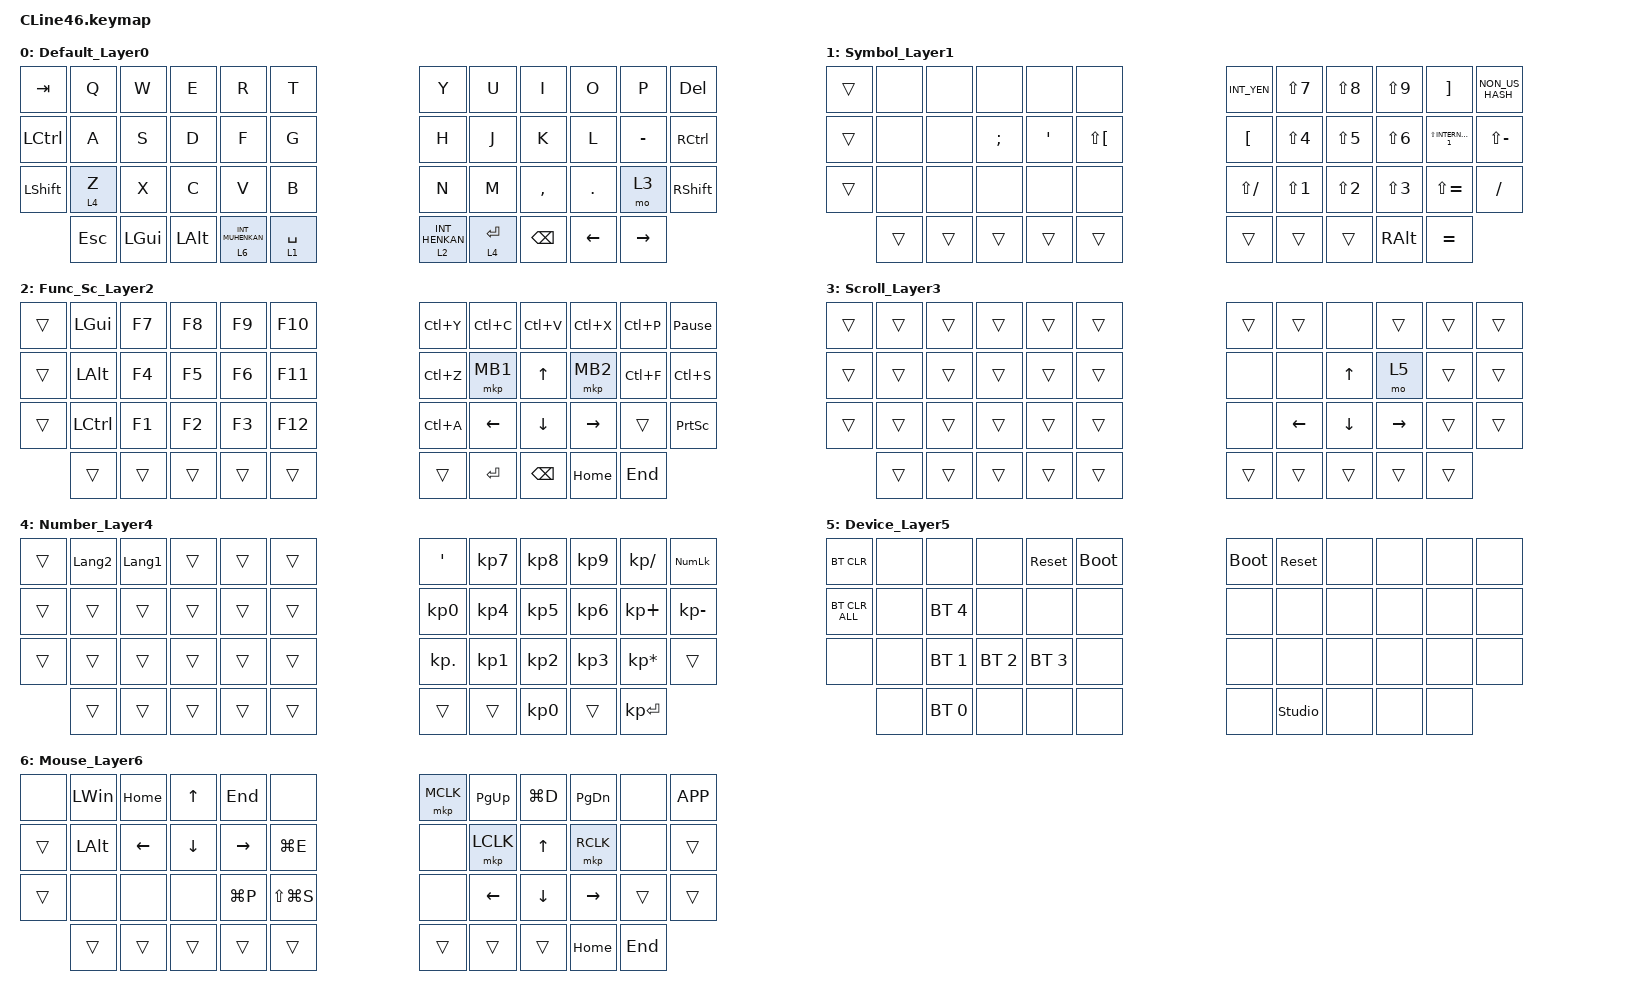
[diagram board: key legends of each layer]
#include <input/processors.dtsi>
#include <dt-bindings/zmk/input_transform.h>
#include <zephyr/dt-bindings/input/input-event-codes.h>
#include <behaviors/runtime_macro.dtsi>
#include <behaviors.dtsi>
#include <dt-bindings/zmk/bt.h>
#include <dt-bindings/zmk/keys.h>
#include <dt-bindings/zmk/pointing.h>

&mt {
    flavor = "balanced";
    quick-tap-ms = <0>;
};

&lt {
    flavor = "balanced";
    quick-tap-ms = <200>;
};

/ {
    // コンボは zmk,combos ではなく runtime-combo モジュールで定義する。
    // zmk,combos はコンパイル時に固定されて DYA Studio から編集できないため。
    // ここに書いた値は「工場出荷値」で、DYA Studio で上書きすると
    // そちらが優先され、Reset to Default で戻せる

    runtime_combo_defaults {
        compatible = "cormoran,runtime-combo-defaults";

        mouse_l {
            slot = <0>;
            bindings = <&mkp LCLK>;
            key-positions = <19 20>;
            require-prior-idle-ms = <125>;
            display-name = "Mouse-L";
        };

        mouse_r {
            slot = <1>;
            bindings = <&mkp RCLK>;
            key-positions = <20 21>;
            require-prior-idle-ms = <125>;
            display-name = "Mouse-R";
        };

        l_alt_l_arrow {
            slot = <2>;
            bindings = <&kp LA(LEFT_ARROW)>;
            key-positions = <31 32>;
            require-prior-idle-ms = <125>;
            display-name = "L-Alt + L-Arrow";
        };

        l_alt_up_arrow {
            slot = <3>;
            bindings = <&kp LA(UP_ARROW)>;
            key-positions = <7 8>;
            require-prior-idle-ms = <125>;
            display-name = "L-Alt + UP-Arrow";
        };
    };

    macros {
        to_layer_0: to_layer_0 {
            compatible = "zmk,behavior-macro-one-param";
            #binding-cells = <1>;
            bindings = <&to 0 &macro_param_1to1 &kp MACRO_PLACEHOLDER>;
            label = "TO_LAYER_0";
        };
    };

    behaviors {
        lt_to_layer_0: lt_to_layer_0 {
            compatible = "zmk,behavior-hold-tap";
            label = "LAYER_TAP_TO_0";
            bindings = <&mo>, <&to_layer_0>;

            #binding-cells = <2>;
            tapping-term-ms = <200>;
        };
    };

    keymap {
        compatible = "zmk,keymap";

        Default_Layer0 {
            display-name = "Default_Layer0";
            bindings = <
&kp TAB           &kp Q       &kp W     &kp E     &kp R               &kp T                                       &kp Y     &kp U  &kp I      &kp O           &kp P            &kp DEL
&kp LEFT_CONTROL  &kp A       &kp S     &kp D     &kp F               &kp G                                       &kp H     &kp J  &kp K      &kp L           &kp MINUS        &kp RIGHT_CONTROL
&kp LSHIFT        &lt 4 Z     &kp X     &kp C     &kp V               &kp B                                       &kp N     &kp M  &kp COMMA  &kp DOT         &mo 3            &kp RSHIFT
                  &kp ESCAPE  &kp LGUI  &kp LALT  &lt 6 INT_MUHENKAN  &lt 1 SPACE  &lt 2 INT_HENKAN    &lt 4 RET  &kp BSPC                    &kp LEFT_ARROW  &kp RIGHT_ARROW
            >;
        };

        Symbol_Layer1 {
            display-name = "Symbol_Layer1";
            bindings = <
&trans  &none   &none   &none          &none             &none                           &kp INT_YEN    &kp LS(NUMBER_7)  &kp LS(NUMBER_8)  &kp LS(NUMBER_9)  &kp RBKT                 &kp NON_US_HASH
&trans  &none   &none   &kp SEMICOLON  &kp SINGLE_QUOTE  &kp LS(LBKT)                    &kp LBKT       &kp LS(NUMBER_4)  &kp LS(NUMBER_5)  &kp LS(NUMBER_6)  &kp LS(INTERNATIONAL_1)  &kp LS(MINUS)
&trans  &none   &none   &none          &none             &none                           &kp LS(SLASH)  &kp LS(NUMBER_1)  &kp LS(NUMBER_2)  &kp LS(NUMBER_3)  &kp LS(EQUAL)            &kp FSLH
        &trans  &trans  &trans         &trans            &trans        &trans    &trans  &trans                                             &kp RIGHT_ALT     &kp EQUAL
            >;
        };

        Func_Sc_Layer2 {
            display-name = "Func_Sc_Layer2";
            bindings = <
&trans  &kp LEFT_GUI      &kp F7  &kp F8  &kp F9  &kp F10                     &kp LC(Y)  &kp LC(C)       &kp LC(V)       &kp LC(X)        &kp LC(P)  &kp PAUSE_BREAK
&trans  &kp LEFT_ALT      &kp F4  &kp F5  &kp F6  &kp F11                     &kp LC(Z)  &mkp MB1        &kp UP_ARROW    &mkp MB2         &kp LC(F)  &kp LC(S)
&trans  &kp LEFT_CONTROL  &kp F1  &kp F2  &kp F3  &kp F12                     &kp LC(A)  &kp LEFT_ARROW  &kp DOWN_ARROW  &kp RIGHT_ARROW  &trans     &kp PRINTSCREEN
        &trans            &trans  &trans  &trans  &trans   &trans    &kp RET  &kp BSPC                                   &kp HOME         &kp END
            >;
        };

        Scroll_Layer3 {
            display-name = "Scroll_Layer3";
            bindings = <
&trans  &trans  &trans  &trans  &trans  &trans                    &trans  &trans          &none           &trans           &trans  &trans
&trans  &trans  &trans  &trans  &trans  &trans                    &none   &none           &kp UP_ARROW    &mo 5            &trans  &trans
&trans  &trans  &trans  &trans  &trans  &trans                    &none   &kp LEFT_ARROW  &kp DOWN_ARROW  &kp RIGHT_ARROW  &trans  &trans
        &trans  &trans  &trans  &trans  &trans  &trans    &trans  &trans                                  &trans           &trans
            >;
        };

        Number_Layer4 {
            display-name = "Number_Layer4";
            bindings = <
&trans  &kp LANGUAGE_2  &kp LANGUAGE_1  &trans  &trans  &trans                    &kp SINGLE_QUOTE  &kp KP_N7  &kp KP_N8  &kp KP_N9  &kp KP_SLASH     &kp KP_NUMLOCK
&trans  &trans          &trans          &trans  &trans  &trans                    &kp KP_N0         &kp KP_N4  &kp KP_N5  &kp KP_N6  &kp KP_PLUS      &kp KP_MINUS
&trans  &trans          &trans          &trans  &trans  &trans                    &kp KP_DOT        &kp KP_N1  &kp KP_N2  &kp KP_N3  &kp KP_ASTERISK  &trans
        &trans          &trans          &trans  &trans  &trans  &trans    &trans  &kp KP_NUMBER_0                         &trans     &kp KP_ENTER
            >;
        };

        Device_Layer5 {
            display-name = "Device_Layer5";
            bindings = <
&bt BT_CLR      &none  &none         &none         &sys_reset    &bootloader                           &bootloader  &sys_reset  &none  &none  &none  &none
&bt BT_CLR_ALL  &none  &bt BT_SEL 4  &none         &none         &none                                 &none        &none       &none  &none  &none  &none
&none           &none  &bt BT_SEL 1  &bt BT_SEL 2  &bt BT_SEL 3  &none                                 &none        &none       &none  &none  &none  &none
                &none  &bt BT_SEL 0  &none         &none         &none        &none    &studio_unlock  &none                           &none  &none
            >;
        };

        Mouse_Layer6 {
            display-name = "Mouse_Layer6";
            bindings = <
&none   &kp LEFT_WIN  &kp HOME  &kp UP    &kp END    &none                            &mkp MCLK  &kp PAGE_UP  &kp LG(D)  &kp PAGE_DOWN  &none    &kp K_APP
&trans  &kp LALT      &kp LEFT  &kp DOWN  &kp RIGHT  &kp LG(E)                        &none      &mkp LCLK    &kp UP     &mkp RCLK      &none    &trans
&trans  &none         &none     &none     &kp LG(P)  &kp LS(LG(S))                    &none      &kp LEFT     &kp DOWN   &kp RIGHT      &trans   &trans
        &trans        &trans    &trans    &trans     &trans         &trans    &trans  &trans                             &kp HOME       &kp END
            >;
        };
    };
};
